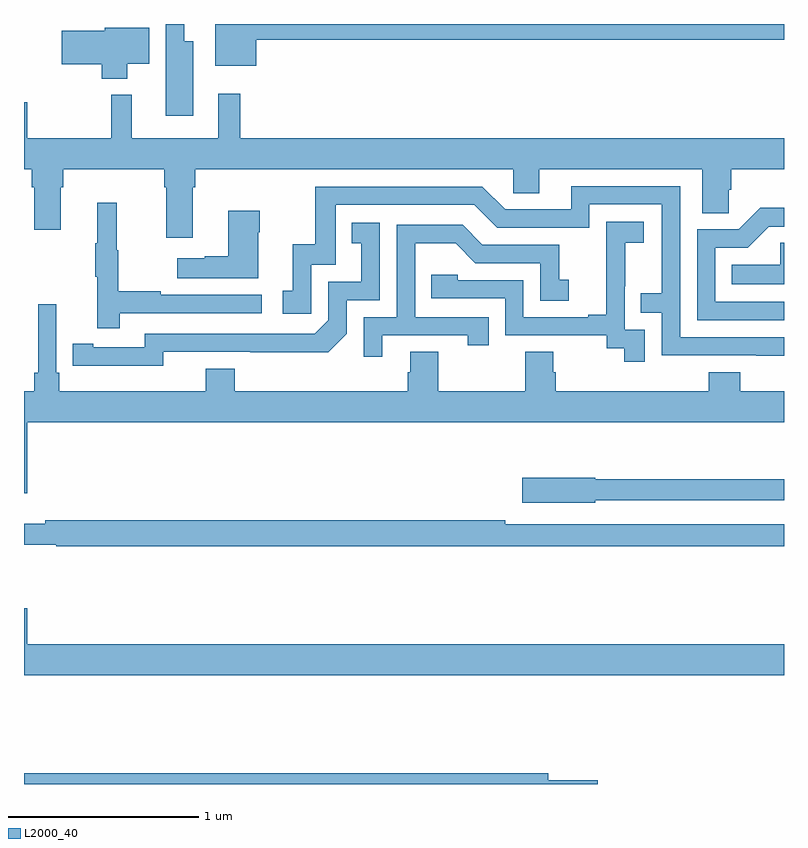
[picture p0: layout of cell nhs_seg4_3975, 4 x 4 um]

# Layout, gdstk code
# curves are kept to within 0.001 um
import gdstk
lib = gdstk.Library(unit=1e-6, precision=1e-09)
def P(c, l, *ps):  # polygons
    for p in ps: c.add(gdstk.Polygon(p, *l))
L2000_40 = (2000, 40)

nhs_seg4_3975 = lib.new_cell('nhs_seg4_3975')
P(nhs_seg4_3975, L2000_40, [(321.892,814.81),(321.844,814.81),(321.844,814.9),(321.746,814.9),(321.746,814.418),(321.892,814.418)],
  [(322.222,814.816),(325,814.816),(325,814.9),(322.007,814.9),(322.007,814.679),(322.222,814.679)],
  [(321.544,814.691),(321.658,814.691),(321.658,814.879),(321.426,814.879),(321.426,814.865),(321.198,814.865),(321.198,814.687),(321.41,814.687),(321.41,814.613),(321.544,814.613)],
  [(321.889,814.04),(321.902,814.04),(321.902,814.136),(323.574,814.136),(323.574,814.009),(323.713,814.009),(323.713,814.136),(324.569,814.136),(324.569,813.904),(324.708,813.904),(324.708,814.027),(324.722,814.027),(324.722,814.136),(325,814.136),(325,814.3),(322.139,814.3),(322.139,814.534),(322.022,814.534),(322.022,814.3),(321.568,814.3),(321.568,814.528),(321.459,814.528),(321.459,814.3),(321.016,814.3),(321.016,814.489),(321,814.489),(321,814.136),(321.041,814.136),(321.041,814.04),(321.053,814.04),(321.053,813.816),(321.193,813.816),(321.193,814.04),(321.206,814.04),(321.206,814.136),(321.737,814.136),(321.737,814.04),(321.749,814.04),(321.749,813.774),(321.889,813.774)],
  [(325,813.252),(324.453,813.252),(324.453,814.047),(323.879,814.047),(323.879,813.924),(323.532,813.924),(323.412,814.044),(322.533,814.044),(322.533,813.742),(322.415,813.742),(322.415,813.495),(322.362,813.495),(322.362,813.375),(322.512,813.375),(322.512,813.633),(322.641,813.633),(322.641,813.948),(323.37,813.948),(323.49,813.828),(323.976,813.828),(323.976,813.951),(324.357,813.951),(324.357,813.482),(324.247,813.482),(324.247,813.381),(324.357,813.381),(324.357,813.156),(325,813.155)],
  [(321.503,813.378),(322.252,813.378),(322.252,813.474),(321.719,813.474),(321.719,813.494),(321.496,813.494),(321.496,813.708),(321.488,813.708),(321.488,813.958),(321.386,813.958),(321.386,813.745),(321.375,813.745),(321.375,813.571),(321.386,813.571),(321.386,813.3),(321.503,813.3)],
  [(325,813.438),(324.639,813.438),(324.639,813.723),(324.808,813.723),(324.919,813.834),(325,813.834),(325,813.932),(324.875,813.932),(324.762,813.819),(324.543,813.819),(324.543,813.342),(325,813.342)],
  [(322.234,813.803),(322.242,813.803),(322.242,813.916),(322.076,813.916),(322.076,813.677),(321.95,813.677),(321.95,813.667),(321.807,813.667),(321.807,813.563),(322.234,813.563)],
  [(324.267,813.291),(324.162,813.291),(324.162,813.521),(324.164,813.521),(324.164,813.749),(324.262,813.749),(324.262,813.859),(324.064,813.859),(324.064,813.653),(324.065,813.653),(324.065,813.37),(323.969,813.37),(323.969,813.357),(323.628,813.357),(323.628,813.552),(323.283,813.552),(323.283,813.579),(323.143,813.579),(323.143,813.456),(323.532,813.456),(323.532,813.261),(324.066,813.261),(324.066,813.193),(324.159,813.193),(324.159,813.123),(324.267,813.123)],
  [(321.732,813.174),(322.6,813.173),(322.698,813.27),(322.698,813.447),(322.872,813.447),(322.872,813.853),(322.726,813.853),(322.726,813.747),(322.775,813.747),(322.775,813.543),(322.602,813.543),(322.602,813.342),(322.53,813.27),(321.636,813.27),(321.636,813.198),(321.364,813.198),(321.364,813.218),(321.256,813.218),(321.256,813.102),(321.732,813.101)],
  [(322.885,813.261),(323.336,813.261),(323.336,813.21),(323.447,813.21),(323.447,813.357),(323.058,813.357),(323.058,813.746),(323.272,813.746),(323.376,813.642),(323.718,813.642),(323.718,813.444),(323.866,813.444),(323.866,813.553),(323.817,813.553),(323.817,813.738),(323.413,813.738),(323.308,813.843),(322.962,813.843),(322.962,813.357),(322.788,813.357),(322.788,813.15),(322.885,813.15)],
  [(325,813.749),(324.981,813.749),(324.981,813.634),(324.724,813.634),(324.724,813.53),(325,813.53)],
  [(321.016,812.804),(325,812.804),(325,812.968),(324.77,812.968),(324.77,813.067),(324.605,813.067),(324.605,812.968),(323.798,812.968),(323.798,813.066),(323.785,813.066),(323.785,813.176),(323.638,813.176),(323.638,812.968),(323.181,812.968),(323.181,813.176),(323.033,813.176),(323.033,813.066),(323.021,813.066),(323.021,812.968),(322.109,812.968),(322.109,813.085),(321.956,813.085),(321.956,812.968),(321.185,812.968),(321.185,813.064),(321.171,813.064),(321.171,813.424),(321.074,813.424),(321.074,813.064),(321.055,813.064),(321.055,812.968),(321,812.968),(321,812.43),(321.016,812.43)],
  [(324.006,812.394),(325,812.394),(325,812.503),(324.006,812.503),(324.006,812.511),(323.622,812.511),(323.622,812.381),(324.006,812.381)],
  [(325,812.268),(323.534,812.268),(323.534,812.288),(321.112,812.288),(321.112,812.269),(321,812.269),(321,812.16),(321.17,812.16),(321.17,812.152),(325,812.152)],
  [(325,811.636),(321.016,811.636),(321.016,811.825),(321,811.825),(321,811.472),(325,811.472)],
  [(324.019,810.92),(323.758,810.92),(323.758,810.956),(321,810.956),(321,810.9),(324.019,810.9)])

lib.write_gds('nhs_seg4_3975.gds')
